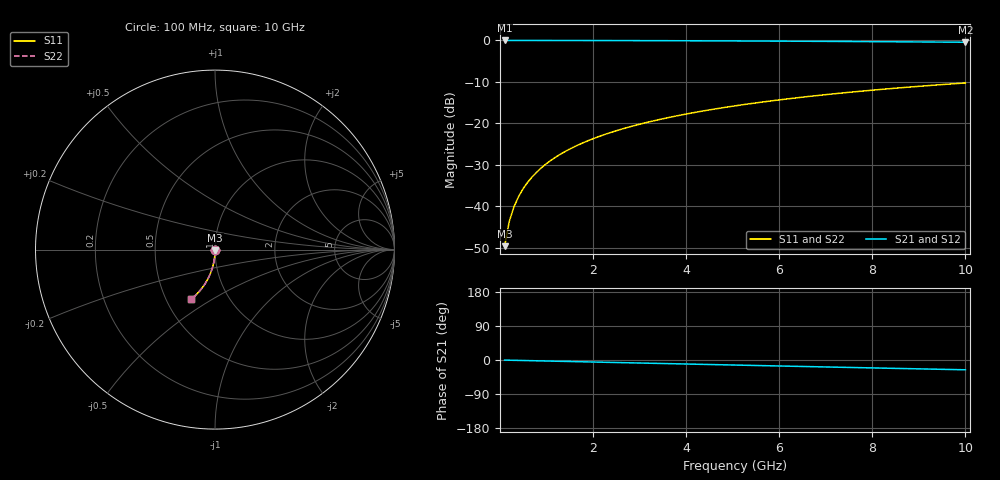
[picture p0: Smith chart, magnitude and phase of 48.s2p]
# Hz S RI R 50.00
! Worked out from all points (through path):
!   100 points, 100 MHz to 10 GHz, reference 50 ohm
!   highest |S21| = 0.00 dB at 100 MHz (marker M1); lowest = -0.4 dB at 10 GHz (marker M2)
!   group delay of S21, straight-line fit = 7.19 ps
!   lowest |S11| = -49.6 dB at 100 MHz (marker M3), VSWR 1.01, Z = 50 - j0.327 ohm
!   |S11| at or under -10 dB: start of sweep to end of sweep
!   |S22| runs from -49.6 to -10.3 dB; largest |S21 - S12| = 0
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1e8  0.000421 -0.00327  0.9995 -0.00464  0.9995 -0.00464  0.000421 -0.00327
2e8  0.000375 -0.00654  0.9995 -0.00927  0.9995 -0.00927  0.000375 -0.00654
3e8  0.000297 -0.00981  0.9994 -0.0139  0.9994 -0.0139  0.000297 -0.00981
4e8  0.000189 -0.0131  0.9993 -0.0185  0.9993 -0.0185  0.000189 -0.0131
5e8  5.06e-05 -0.0164  0.9991 -0.0232  0.9991 -0.0232  5.06e-05 -0.0164
6e8  -0.000119 -0.0196  0.9989 -0.0278  0.9989 -0.0278  -0.000119 -0.0196
7e8  -0.000318 -0.0229  0.9987 -0.0324  0.9987 -0.0324  -0.000318 -0.0229
8e8  -0.000548 -0.0261  0.9985 -0.0371  0.9985 -0.0371  -0.000548 -0.0261
9e8  -0.000808 -0.0294  0.9982 -0.0417  0.9982 -0.0417  -0.000808 -0.0294
1.1e9  -0.00142 -0.0359  0.9976 -0.0509  0.9976 -0.0509  -0.00142 -0.0359
1.4e9  -0.00256 -0.0457  0.9963 -0.0648  0.9963 -0.0648  -0.00256 -0.0457
1.8e9  -0.0045 -0.0586  0.9943 -0.0831  0.9943 -0.0831  -0.0045 -0.0586
2.1e9  -0.00627 -0.0682  0.9924 -0.0969  0.9924 -0.0969  -0.00627 -0.0682
2.5e9  -0.00904 -0.0809  0.9894 -0.1151  0.9894 -0.1151  -0.00904 -0.0809
2.9e9  -0.0123 -0.0935  0.986 -0.1331  0.986 -0.1331  -0.0123 -0.0935
3.4e9  -0.0169 -0.1091  0.981 -0.1555  0.981 -0.1555  -0.0169 -0.1091
4.2e9  -0.0259 -0.1333  0.9715 -0.1908  0.9715 -0.1908  -0.0259 -0.1333
5.1e9  -0.0379 -0.1596  0.9587 -0.2294  0.9587 -0.2294  -0.0379 -0.1596
5.9e9  -0.0502 -0.1819  0.9455 -0.2627  0.9455 -0.2627  -0.0502 -0.1819
6.7e9  -0.0641 -0.203  0.9307 -0.2949  0.9307 -0.2949  -0.0641 -0.203
8.4e9  -0.0977 -0.2438  0.8946 -0.3592  0.8946 -0.3592  -0.0977 -0.2438
1e10  -0.1336 -0.2765  0.8558 -0.4141  0.8558 -0.4141  -0.1336 -0.2765
